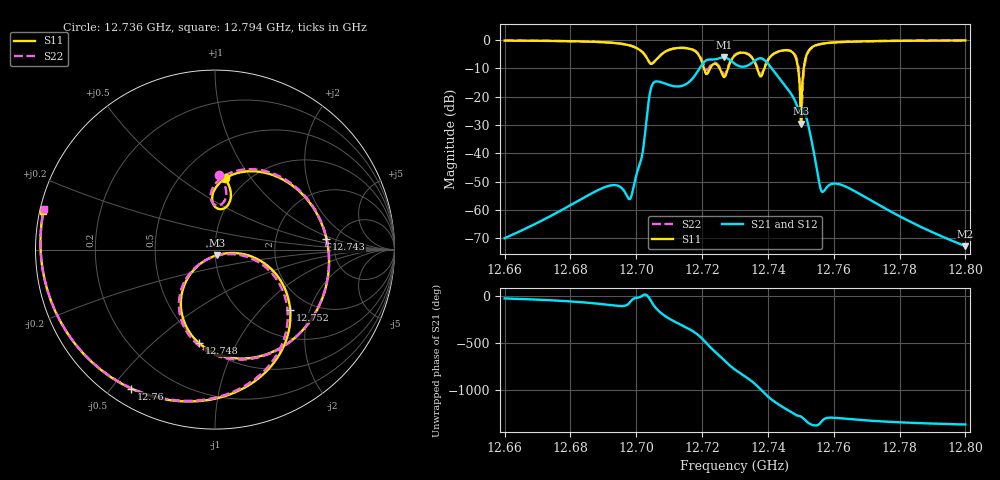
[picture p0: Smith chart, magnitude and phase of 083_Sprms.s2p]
! TOUCHSTONE file generated by CST MICROWAVE STUDIO
! Date and time: Wed Jul 31 14:54:58 2024
! Project name: WaveGuide_BPF-Ver4.1_U-shape_Ku_T3_C4_CWA_2.cst
! Parameters = {cavity_h=16; cavity_l0=10; cavity_l1=15.2022; cavity_l2=16.8494; cavity_l3=17.1328; cavity_l4=17.2493; cavity_l5=17.1299; cavity_l6=17.6241; cavity_r=2.5; cavity_screw_l=0.5; cavity_screw_r=1.5; cavity_w=8; iris_h00=0; iris_h01=8.8408; iris_h112=0; iris_h12=5.603; iris_h211=3.6515; i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
! Header version: 2018
! Port assignment regex: !\s*Touchstone port\s*([0-9]+)\s*=\s*(CST MWS port|CST DS port)\s*([0-9]+|Zmin|Zmax)\s*\(\"(.*)\"\)(\s*mode\s*([0-9]+))?.*
! Touchstone port assignment:
! Touchstone port 1 = CST MWS port 1 ("")
! Touchstone port 2 = CST MWS port 2 ("")
# GHz S RI R 50
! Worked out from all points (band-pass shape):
!   5001 points, 12.66 GHz to 12.8 GHz, reference 50 ohm
!   highest |S21| = -6.13 dB at 12.727 GHz (marker M1); lowest = -72.8 dB at 12.8 GHz (marker M2)
!   |S21| within 3 dB of the highest: 12.71971 GHz to 12.73108 GHz (11.37 MHz wide, 0.0894 % of centre); 12.73358 GHz to 12.74056 GHz (6.983 MHz wide, 0.0548 % of centre)
!   lowest |S11| = -29.5 dB at 12.75 GHz (marker M3), VSWR 1.07, Z = 51.2 - j3.15 ohm
!   |S11| at or under -10 dB: 12.72056 GHz to 12.72243 GHz (1.866 MHz wide, 0.0147 % of centre); 12.72532 GHz to 12.72787 GHz (2.54 MHz wide, 0.02 % of centre); 12.73672 GHz to 12.73892 GHz (2.202 MHz wide, 0.0173 % of centre) (the widest 3 of 4)
!   |S22| runs from -28.9 to -0.2 dB; largest |S21 - S12| = 1e-09
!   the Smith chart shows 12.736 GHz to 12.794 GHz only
!   S11 on the Smith chart (normalised r, x): 12.736 GHz: 0.80, +0.76; 12.743 GHz: 4.15, +0.81; 12.748 GHz: 0.49, -0.72; 12.752 GHz: 1.59, -1.49; 12.76 GHz: 0.07, -0.56; 12.794 GHz: 0.01, +0.11
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12.66  0.4165 0.8846  0.000276 -0.000157  0.000276 -0.000157  0.4262 0.8799
12.68335  0.8499 0.4137  0.000535 -0.00147  0.000535 -0.00147  0.8567 0.3987
12.69822  0.487 -0.6293  0.000692 -0.00144  0.000692 -0.00144  0.4774 -0.6394
12.70304  -0.4045 -0.2974  0.0354 0.00459  0.0354 0.00459  -0.4062 -0.3075
12.70668  -0.0972 0.4837  -0.1716 -0.0698  -0.1716 -0.0698  -0.0997 0.4776
12.71104  0.6991 0.0376  -0.0158 0.1537  -0.0158 0.1537  0.6983 0.0194
12.71608  0.1928 -0.6761  0.1815 0.0189  0.1815 0.0189  0.1851 -0.6855
12.72244  -0.1607 -0.2736  -0.451 0.0414  -0.451 0.0414  -0.2003 -0.2817
12.72656  -0.203 -0.0955  0.3703 0.3263  0.3703 0.3263  -0.2232 -0.1023
12.73  -0.5254 -0.113  0.1665 -0.3396  0.1665 -0.3396  -0.5374 -0.1108
12.73602  0.0543 0.3983  -0.3599 0.2381  -0.3599 0.2381  0.0214 0.413
12.73949  0.0396 0.3841  0.3673 0.1913  0.3673 0.1913  0.0284 0.3939
12.74313  0.6211 0.0598  0.0758 -0.2088  0.0758 -0.2088  0.6164 0.082
12.7482  -0.0886 -0.5217  -0.0849 -0.00229  -0.0849 -0.00229  -0.0688 -0.5505
12.75005  0.0132 -0.0307  -0.0552 0.0206  -0.0552 0.0206  -0.0508 -0.0581
12.7517  0.4188 -0.334  -0.0127 0.0402  -0.0127 0.0402  0.3986 -0.2995
12.75335  0.2732 -0.6907  0.00479 0.0151  0.00479 0.0151  0.2714 -0.6786
12.75626  -0.1275 -0.8462  -0.000553 0.00208  -0.000553 0.00208  -0.1372 -0.8423
12.75985  -0.4653 -0.7749  -0.00245 0.00159  -0.00245 0.00159  -0.4777 -0.7669
12.77668  -0.9498 -0.1651  -0.000237 0.000954  -0.000237 0.000954  -0.9524 -0.1518
12.79412  -0.9559 0.2141  5.23e-05 0.000313  5.23e-05 0.000313  -0.9537 0.2245
12.8  -0.9353 0.3004  5.91e-05 0.000222  5.91e-05 0.000222  -0.9324 0.3099
